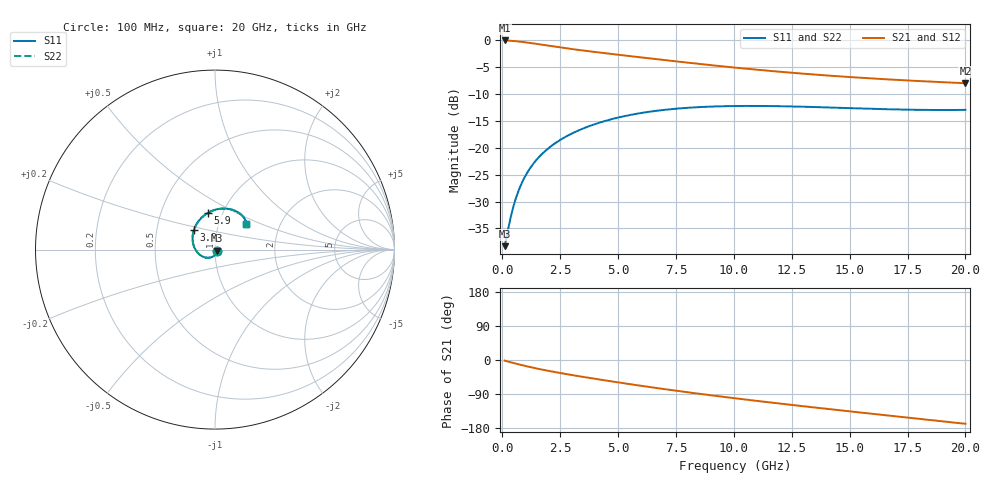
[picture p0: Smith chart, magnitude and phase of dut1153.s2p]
! Touchstone file exported from HFSS 2024.1.0
!  File:  C:/UserFiles/LocalFiles/RDL_TSV_Batchsim/temp_RDL_TSV_1153_1780117701.aedt
!  Generated:  01:25:11 PM May 30, 2026
!  Design:  RDL_TSV
!  Project:  temp_RDL_TSV_1153_1780117701
!  Setup:  Setup1
!  Solution:  Sweep
! Variables:
!  dtsv = 13.34um
!  hbump = 3um
!  htsv = 77.84um
!  ldown = 424.21um
!  lrdl = 241.87um
!  p = 40
!  p1 = 50.52um
!  rhole = 10um
!  subl = 2240.11um
!  t = 450um
!  tdown = 2.69um
!  trdl = 2.85um
!  viad = 10um
!  wdown = 27.83um
!  wrdl = 28.95um
!  xbump = 18um
# GHz S MA R 50.000000
! Terminal data exported
! Port[1] = TM1_1_T1
! Port[2] = TM1_4_T1
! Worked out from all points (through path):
!   200 points, 100 MHz to 20 GHz, reference 50 ohm
!   highest |S21| = -0.10 dB at 100 MHz (marker M1); lowest = -8.0 dB at 20 GHz (marker M2)
!   group delay of S21, straight-line fit = 22 ps
!   lowest |S11| = -38.3 dB at 100 MHz (marker M3), VSWR 1.02, Z = 51.1 - j0.597 ohm
!   |S11| at or under -10 dB: start of sweep to end of sweep
!   |S22| runs from -38.3 to -12.2 dB; largest |S21 - S12| = 2.3e-14
!   S11 on the Smith chart (normalised r, x): 100 MHz: 1.02, -0.01; 3.8 GHz: 0.77, +0.17; 5.9 GHz: 0.85, +0.36; 20 GHz: 1.34, +0.41
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0.1  0.01217 -28.7  0.9883 -1.7  0.9883 -1.7  0.01217 -28.7
! Gamma 0 0 0 0
! Port Impedance 50 0 50 0
0.4  0.02441 -79.1  0.9803 -6.7  0.9803 -6.7  0.0244 -79.1
0.6  0.03457 -97.6  0.9719 -9.8  0.9719 -9.8  0.03457 -97.6
0.7  0.03971 -105.2  0.967 -11.3  0.967 -11.3  0.03971 -105.2
0.9  0.04984 -118.4  0.9558 -14.3  0.9558 -14.3  0.04984 -118.4
1.2  0.06441 -135.3  0.9369 -18.6  0.9369 -18.6  0.06442 -135.3
1.6  0.08247 -154.3  0.9097 -23.8  0.9097 -23.8  0.08249 -154.3
2.1  0.1029 -174.3  0.8763 -29.8  0.8763 -29.8  0.103 -174.3
2.7  0.125 165.9  0.8396 -36.5  0.8396 -36.5  0.125 165.8
3.5  0.1509 144.5  0.7967 -44.7  0.7967 -44.7  0.151 144.4
3.8  0.1597 137.6  0.7821 -47.6  0.7821 -47.6  0.1598 137.5
4.8  0.1856 118.1  0.7369 -57.2  0.7369 -57.2  0.1858 118.1
5.9  0.208 101.2  0.6917 -67.3  0.6917 -67.3  0.2083 101.1
6.8  0.2218 89.9  0.6574 -75.1  0.6574 -75.1  0.2221 89.8
8.4  0.2371 74.0  0.6021 -88.3  0.6021 -88.3  0.2375 74.0
10.1  0.2435 61.5  0.5519 -101.4  0.5519 -101.4  0.2439 61.5
11.7  0.243 53.0  0.5126 -113.0  0.5126 -113.0  0.2434 52.9
13.4  0.2385 46.5  0.4784 -124.7  0.4784 -124.7  0.2389 46.5
15  0.2327 42.6  0.4522 -135.5  0.4522 -135.5  0.2331 42.6
16.7  0.2271 40.4  0.4295 -146.7  0.4295 -146.7  0.2274 40.3
18.3  0.2239 39.8  0.412 -157.2  0.412 -157.2  0.2243 39.7
20  0.2242 40.1  0.3964 -168.4  0.3964 -168.4  0.2246 40.0
